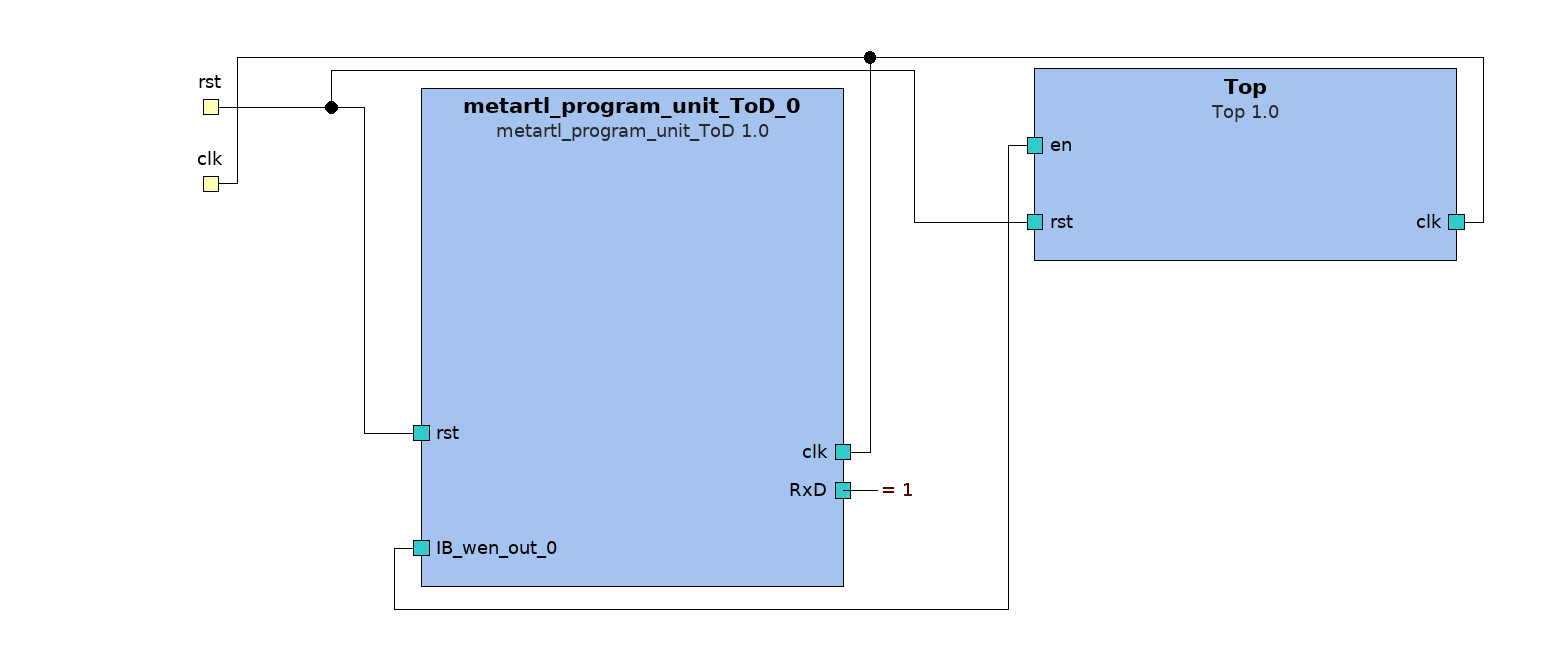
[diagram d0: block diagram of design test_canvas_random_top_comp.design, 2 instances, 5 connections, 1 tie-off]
<?xml version="1.0" encoding="UTF-8"?>
<ipxact:design xmlns:xsi="http://www.w3.org/2001/XMLSchema-instance" xmlns:ipxact="http://www.accellera.org/XMLSchema/IPXACT/1685-2014" xmlns:kactus2="http://kactus2.cs.tut.fi" xsi:schemaLocation="http://www.accellera.org/XMLSchema/IPXACT/1685-2014 http://www.accellera.org/XMLSchema/IPXACT/1685-2014/index.xsd"><ipxact:vendor>ifx_adhoc</ipxact:vendor><ipxact:library>from_mod_adhoc_design</ipxact:library>
 <ipxact:name>test_canvas_random_top_comp.design</ipxact:name><ipxact:version>1.0</ipxact:version><ipxact:componentInstances>
 <ipxact:componentInstance><ipxact:instanceName>Top</ipxact:instanceName><ipxact:componentRef vendor="ifx_adhoc" library="from_mod_adhoc_component" name="Top" version="1.0"/></ipxact:componentInstance>
 <ipxact:componentInstance><ipxact:instanceName>metartl_program_unit_ToD_0</ipxact:instanceName><ipxact:componentRef vendor="ifx_adhoc" library="from_mod_adhoc_component" name="metartl_program_unit_ToD" version="1.0"/></ipxact:componentInstance>
</ipxact:componentInstances><ipxact:adHocConnections>
 <ipxact:adHocConnection><ipxact:name>Top_clk_to_clk</ipxact:name><ipxact:portReferences><ipxact:internalPortReference componentRef="Top" portRef="clk"/><ipxact:externalPortReference portRef="clk"/></ipxact:portReferences></ipxact:adHocConnection>
 <ipxact:adHocConnection><ipxact:name>Top_rst_to_rst</ipxact:name><ipxact:portReferences><ipxact:internalPortReference componentRef="Top" portRef="rst"/><ipxact:externalPortReference portRef="rst"/></ipxact:portReferences></ipxact:adHocConnection>
 <ipxact:adHocConnection><ipxact:name>metartl_program_unit_ToD_0_IB_wen_out_0_to_Top_en</ipxact:name><ipxact:portReferences><ipxact:internalPortReference componentRef="metartl_program_unit_ToD_0" portRef="IB_wen_out_0"/><ipxact:internalPortReference componentRef="Top" portRef="en"/></ipxact:portReferences></ipxact:adHocConnection>
 <ipxact:adHocConnection><ipxact:name>metartl_program_unit_ToD_0_rst_to_rst</ipxact:name><ipxact:portReferences><ipxact:internalPortReference componentRef="metartl_program_unit_ToD_0" portRef="rst"/><ipxact:externalPortReference portRef="rst"/></ipxact:portReferences></ipxact:adHocConnection>
 <ipxact:adHocConnection><ipxact:name>metartl_program_unit_ToD_0_clk_to_clk</ipxact:name><ipxact:portReferences><ipxact:internalPortReference componentRef="metartl_program_unit_ToD_0" portRef="clk"/><ipxact:externalPortReference portRef="clk"/></ipxact:portReferences></ipxact:adHocConnection>
 <ipxact:adHocConnection><ipxact:name>metartl_program_unit_ToD_0_RxD_to_tiedValue</ipxact:name><ipxact:tiedValue>1</ipxact:tiedValue><ipxact:portReferences><ipxact:internalPortReference componentRef="metartl_program_unit_ToD_0" portRef="RxD"/></ipxact:portReferences></ipxact:adHocConnection>
</ipxact:adHocConnections></ipxact:design>

